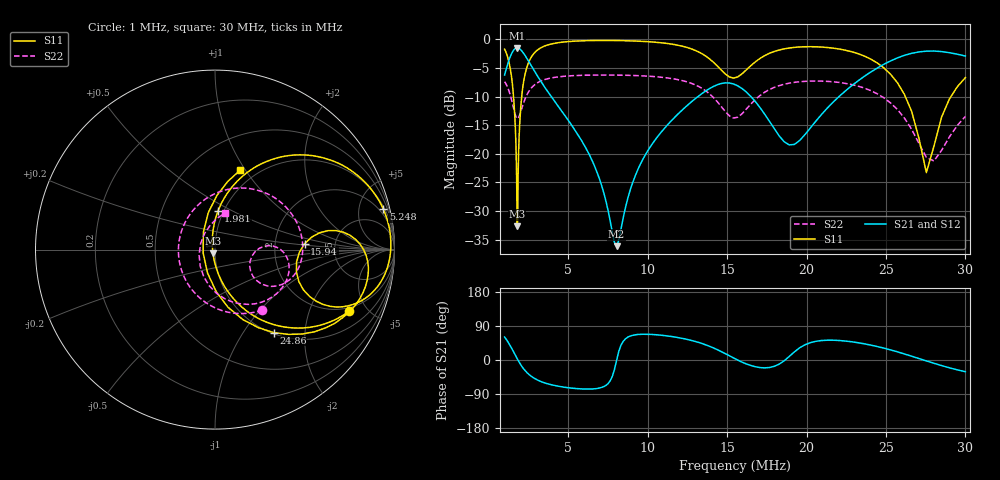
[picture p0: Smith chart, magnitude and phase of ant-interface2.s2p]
# HZ S RI R 50
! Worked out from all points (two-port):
!   200 points, 1 MHz to 30 MHz, reference 50 ohm
!   highest |S21| = -1.47 dB at 1.788 MHz (marker M1); lowest = -36.1 dB at 8.046 MHz (marker M2)
!   |S21| within 3 dB of the highest: 1.175 MHz to 2.651 MHz (1.476 MHz wide, 77.1 % of centre); 24.78 MHz to end of sweep
!   lowest |S11| = -32.7 dB at 1.788 MHz (marker M3), VSWR 1.05, Z = 48.8 - j1.98 ohm
!   |S11| at or under -10 dB: 1.561 MHz to 2.075 MHz (513.5 kHz wide, 28.2 % of centre); 26.22 MHz to 29.09 MHz (2.864 MHz wide, 10.4 % of centre)
!   |S22| runs from -21.2 to -6.2 dB; largest |S21 - S12| = 0
!   S11 on the Smith chart (normalised r, x): 1 MHz: 1.78, -3.77; 1.981 MHz: 0.94, +0.43; 5.248 MHz: 1.27, +8.24; 15.94 MHz: 2.98, +0.26; 24.86 MHz: 1.02, -1.39; 30 MHz: 0.84, +0.95
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1000000  0.7468 -0.3435  0.2399 0.426  0.2399 0.426  0.2643 -0.3365
1586403  0.097 -0.2663  0.7662 0.273  0.7662 0.273  -0.1524 -0.1891
1727934  0.0058 -0.0998  0.8323 0.1249  0.8323 0.1249  -0.1987 -0.0661
1788020  -0.0115 -0.0203  0.8428 0.0563  0.8428 0.0563  -0.204 -0.0099
1882091  -0.0112 0.1042  0.8371 -0.0498  0.8371 -0.0498  -0.1946 0.076
1981111  0.0174 0.217  0.8084 -0.1448  0.8084 -0.1448  -0.1665 0.1518
2741198  0.4959 0.5275  0.4029 -0.4013  0.4029 -0.4013  0.1775 0.3418
5248121  0.9378 0.2254  0.0474 -0.1694  0.0474 -0.1694  0.4639 0.1328
5915111  0.9608 0.163  0.0294 -0.1223  0.0294 -0.1223  0.4779 0.0922
8045848  0.9791 0.000218  0.0156 -0.000291  0.0156 -0.000291  0.4882 -0.0119
9224728  0.9663 -0.0797  0.0258 0.0591  0.0258 0.0591  0.48 -0.062
1.075866e7  0.9211 -0.1841  0.0611 0.1361  0.0611 0.1361  0.4524 -0.1259
1.366709e7  0.641 -0.316  0.2728 0.2282  0.2728 0.2282  0.292 -0.2022
1.56696e7  0.4703 -0.0143  0.3938 -0.00131  0.3938 -0.00131  0.2061 -0.0356
1.593972e7  0.4995 0.0329  0.371 -0.036  0.371 -0.036  0.2237 -0.0112
1.891071e7  0.8418 -0.0319  0.1183 0.0192  0.1183 0.0192  0.4094 -0.0686
2.059783e7  0.8385 -0.2054  0.1263 0.1472  0.1263 0.1472  0.3989 -0.1692
2.485829e7  0.3265 -0.4624  0.5172 0.3161  0.5172 0.3161  0.1002 -0.2933
2.528681e7  0.2412 -0.4346  0.5796 0.2916  0.5796 0.2916  0.0546 -0.2737
2.661719e7  0.00713 -0.2353  0.7452 0.1321  0.7452 0.1321  -0.0623 -0.1519
2.754277e7  -0.0661 -0.0182  0.79 -0.0335  0.79 -0.0335  -0.0886 -0.0294
3e7  0.1406 0.4427  0.6143 -0.369  0.6143 -0.369  0.057 0.2051
